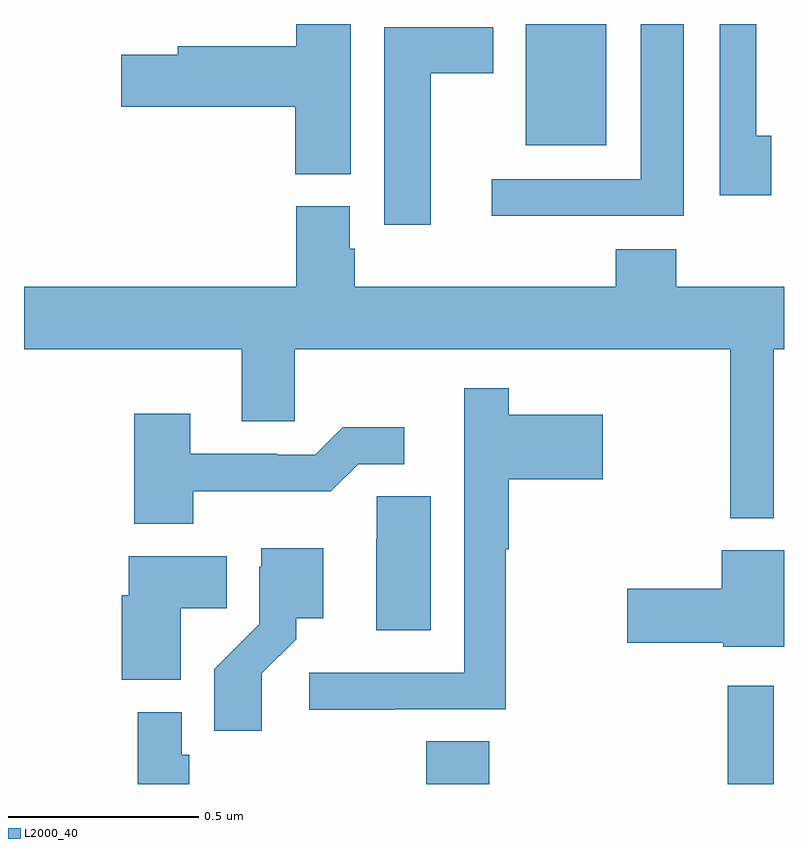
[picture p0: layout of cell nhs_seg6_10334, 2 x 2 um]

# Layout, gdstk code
import gdstk
lib = gdstk.Library(unit=1e-6, precision=1e-09)
def R(c, l, rs):  # rectangles x0, y0, x1, y1
    for r in rs: c.add(gdstk.rectangle(r[:2], r[2:], *l))
def P(c, l, *ps):  # polygons
    for p in ps: c.add(gdstk.Polygon(p, *l))
L2000_40 = (2000, 40)

nhs_seg6_10334 = lib.new_cell('nhs_seg6_10334')
R(nhs_seg6_10334, L2000_40, [(246.059,971.5,246.224,971.612), (246.852,971.5,246.973,971.758), (246.32,973.181,246.532,973.5)])
P(nhs_seg6_10334, L2000_40, [(246.967,973.206),(246.927,973.206),(246.927,973.5),(246.831,973.5),(246.831,973.05),(246.967,973.05)],
  [(246.736,973.5),(246.623,973.5),(246.623,973.092),(246.231,973.092),(246.231,972.995),(246.736,972.995)],
  [(245.86,973.5),(245.716,973.5),(245.716,973.441),(245.405,973.441),(245.405,973.419),(245.256,973.419),(245.256,973.282),(245.714,973.282),(245.714,973.105),(245.86,973.105)],
  [(246.07,973.37),(246.235,973.37),(246.235,973.492),(245.948,973.492),(245.948,972.972),(246.07,972.972)],
  [(246.973,972.644),(247,972.644),(247,972.808),(246.717,972.808),(246.717,972.907),(246.557,972.907),(246.557,972.808),(245.87,972.808),(245.87,972.909),(245.857,972.909),(245.857,973.02),(245.717,973.02),(245.717,972.808),(245,972.808),(245,972.644),(245.573,972.644),(245.573,972.454),(245.712,972.454),(245.712,972.644),(246.859,972.644),(246.859,972.2),(246.973,972.2)],
  [(245.975,971.697),(246.268,971.697),(246.268,972.118),(246.275,972.118),(246.275,972.302),(246.523,972.302),(246.523,972.472),(246.275,972.472),(246.275,972.541),(246.158,972.541),(246.158,972.318),(246.159,972.318),(246.159,971.793),(245.751,971.793),(245.751,971.695),(245.975,971.695)],
  [(245.445,972.27),(245.807,972.27),(245.88,972.342),(246.001,972.342),(246.001,972.439),(245.839,972.439),(245.766,972.366),(245.666,972.366),(245.666,972.369),(245.437,972.369),(245.437,972.475),(245.29,972.475),(245.29,972.185),(245.445,972.185)],
  [(246.07,972.257),(245.928,972.257),(245.928,972.146),(245.927,972.146),(245.927,971.904),(246.07,971.904)],
  [(245.626,971.791),(245.716,971.881),(245.716,971.936),(245.788,971.936),(245.788,972.121),(245.624,972.121),(245.624,972.072),(245.619,972.072),(245.619,971.921),(245.5,971.802),(245.5,971.64),(245.626,971.64)],
  [(247,972.115),(246.836,972.115),(246.836,972.014),(246.588,972.014),(246.588,971.872),(246.84,971.872),(246.84,971.861),(247,971.861)],
  [(245.413,971.962),(245.534,971.962),(245.534,972.1),(245.276,972.1),(245.276,971.997),(245.257,971.997),(245.257,971.774),(245.413,971.774)],
  [(245.435,971.577),(245.415,971.577),(245.415,971.689),(245.299,971.689),(245.299,971.5),(245.435,971.5)])

lib.write_gds('nhs_seg6_10334.gds')
